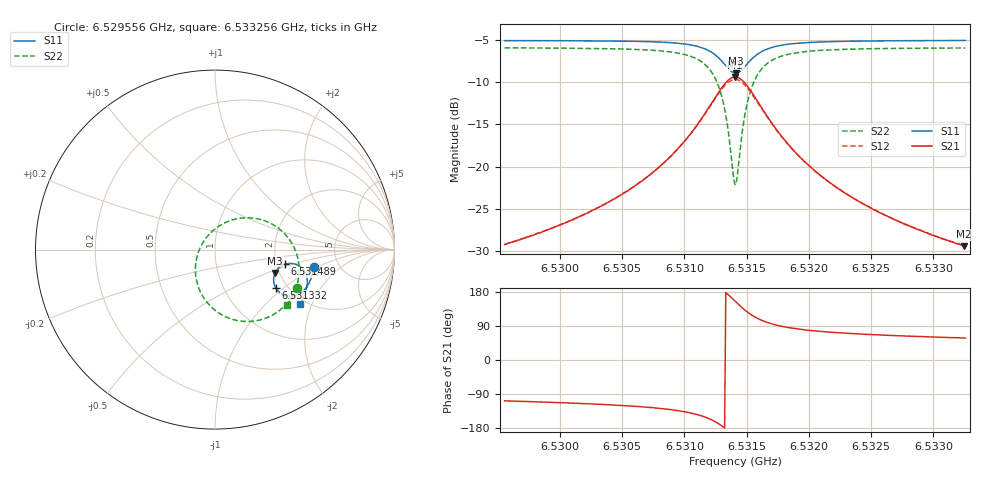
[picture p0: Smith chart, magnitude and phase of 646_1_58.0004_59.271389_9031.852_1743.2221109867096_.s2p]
#  HZ  S  RI  R  50.00
! Rohde & Schwarz Vector Network Analyzer
! Rohde-Schwarz,ZNB20-2Port,1311601062101988,3.16
! Created: UTC 3/21/2024, 1:19:14 AM
! freq[Hz]  re:S11  im:S11  re:S21  im:S21  re:S12  im:S12  re:S22  im:S22
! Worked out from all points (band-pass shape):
!   401 points, 6.529556 GHz to 6.533256 GHz, reference 50 ohm
!   highest |S21| = -9.36 dB at 6.531406 GHz (marker M1); lowest = -29.5 dB at 6.533247 GHz (marker M2)
!   |S21| within 3 dB of the highest: 6.531223 GHz to 6.531592 GHz (369.4 kHz wide, 0.00566 % of centre)
!   lowest |S11| = -8.9 dB at 6.531415 GHz (marker M3), VSWR 2.12, Z = 94.8 - j28.3 ohm
!   |S11| at or under -10 dB: nowhere
!   |S22| runs from -22.2 to -5.9 dB; largest |S21 - S12| = 0.014
!   S11 on the Smith chart (normalised r, x): 6.529556 GHz: 3.26, -0.93; 6.531332 GHz: 1.74, -0.87; 6.531489 GHz: 2.21, -0.43; 6.533256 GHz: 1.84, -1.64
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6.5295557e9  0.5517 -0.0979  -0.0105 -0.0327  -0.0112 -0.0327  0.4596 -0.2154
6.5301755e9  0.5386 -0.1505  -0.0216 -0.0464  -0.0226 -0.0459  0.4236 -0.2739
6.5305363e9  0.5245 -0.1853  -0.0365 -0.0612  -0.0383 -0.0601  0.3845 -0.3178
6.5307953e9  0.5063 -0.2149  -0.0602 -0.0786  -0.0626 -0.0767  0.3316 -0.3582
6.5310174e9  0.474 -0.2447  -0.1081 -0.0989  -0.1111 -0.0946  0.2361 -0.395
6.5311746e9  0.4235 -0.2605  -0.1871 -0.1003  -0.1888 -0.0921  0.0936 -0.3871
6.5312671e9  0.3731 -0.248  -0.2643 -0.0623  -0.2615 -0.0509  -0.0324 -0.3079
6.5313042e9  0.3511 -0.2307  -0.2962 -0.026  -0.2902 -0.0145  -0.0788 -0.2408
6.5313319e9  0.3372 -0.2112  -0.315 0.0116  -0.3061 0.0221  -0.1023 -0.1746
6.5313874e9  0.3272 -0.1581  -0.3211 0.1073  -0.3079 0.1128  -0.0935 -0.0167
6.5314059e9  0.3314 -0.1391  -0.3103 0.1404  -0.2969 0.1432  -0.0698 0.0347
6.5314152e9  0.335 -0.13  -0.3027 0.1558  -0.2892 0.1574  -0.0542 0.0585
6.5314522e9  0.3577 -0.0996  -0.2583 0.207  -0.247 0.2046  0.0267 0.1339
6.5314892e9  0.3878 -0.0819  -0.2035 0.2358  -0.1952 0.2315  0.1217 0.1716
6.5315539e9  0.4379 -0.0788  -0.1162 0.2404  -0.1122 0.2361  0.2677 0.1636
6.5316464e9  0.4824 -0.1025  -0.0407 0.2044  -0.0389 0.2021  0.3894 0.087
6.5317852e9  0.5079 -0.142  0.00365 0.1496  0.0049 0.1487  0.4543 -0.022
6.5320257e9  0.5141 -0.1893  0.0211 0.095  0.0223 0.0947  0.4681 -0.1331
6.5323033e9  0.5078 -0.2253  0.023 0.0647  0.0238 0.0643  0.4557 -0.2014
6.5326456e9  0.4959 -0.2583  0.0211 0.0452  0.022 0.0449  0.4359 -0.252
6.5332469e9  0.4718 -0.305  0.0178 0.0285  0.0185 0.0283  0.4017 -0.3091
6.5332561e9  0.4714 -0.3057  0.0179 0.0285  0.0184 0.0282  0.401 -0.3097
